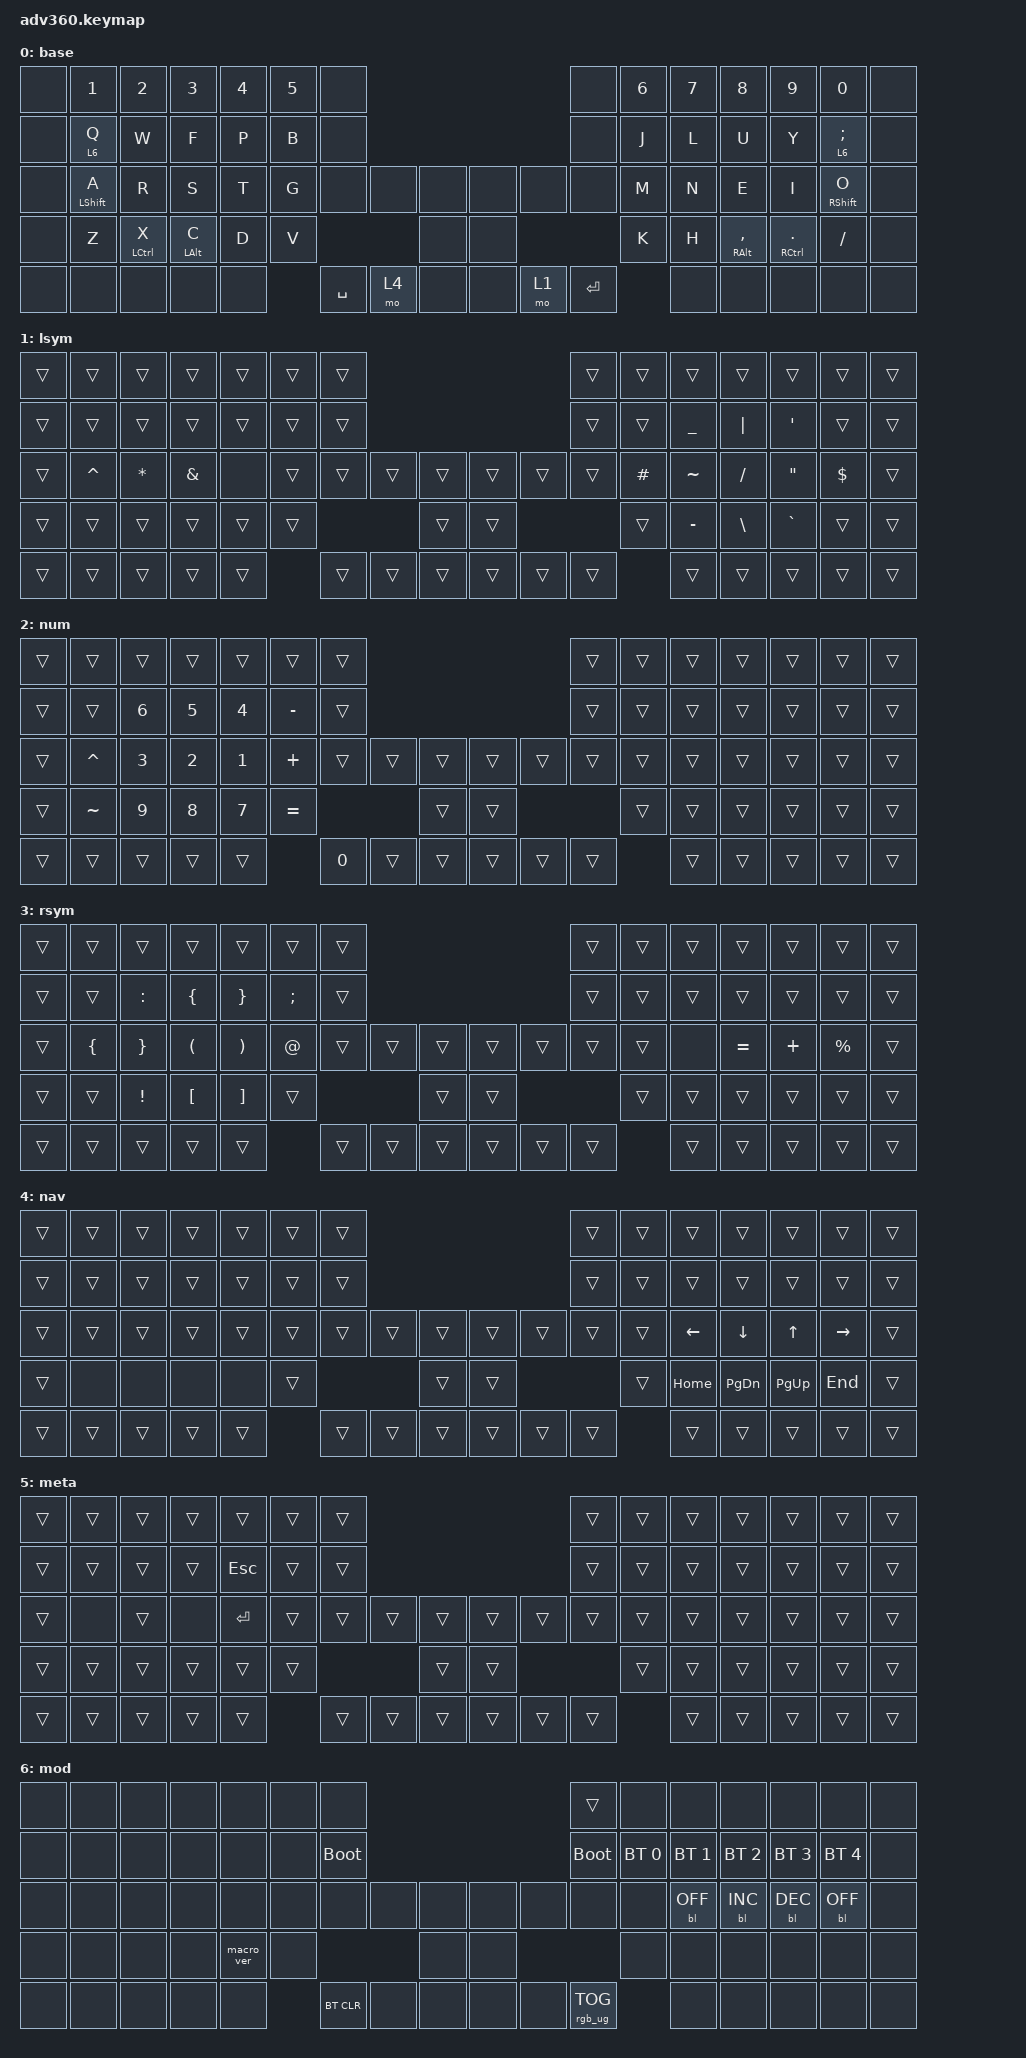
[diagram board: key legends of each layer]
#include <behaviors.dtsi>
#include <dt-bindings/zmk/backlight.h>
#include <dt-bindings/zmk/bt.h>
#include <dt-bindings/zmk/keys.h>
#include <dt-bindings/zmk/rgb.h>

/ {
    behaviors {
        #include "macros.dtsi"
      #include "version.dtsi"
      #ifndef VERSION_MACRO

        macro_ver: macro_ver {
            compatible = "zmk,behavior-macro";
            label = "macro_version";
            #binding-cells = <0>;
            bindings = <&kp RET>;
        };

        #endif

        hm: homerow_mods {
            compatible = "zmk,behavior-hold-tap";
            label = "HOMEROW_MODS";
            #binding-cells = <2>;
            tapping-term-ms = <300>;
            flavor = "tap-preferred";
            bindings = <&kp>, <&kp>;
        };

        ls_cw: ls_cw {
            compatible = "zmk,behavior-tap-dance";
            label = "LS_CW";
            #binding-cells = <0>;
            bindings = <&kp LEFT_SHIFT>, <&caps_word>;
        };
    };

    macros {
    };

    combos {
        compatible = "zmk,combos";

        CB_BACKSPACE {
            bindings = <&kp BACKSPACE>;
            key-positions = <65 70>;
        };

        CB_LGUI {
            bindings = <&kp LEFT_GUI>;
            key-positions = <70 69>;
        };

        CB_ESCAPE {
            bindings = <&kp ESCAPE>;
            key-positions = <65 66>;
        };
    };

    keymap {
        compatible = "zmk,keymap";

        base {
            bindings = <
&none  &kp N1            &kp N2              &kp N3          &kp N4  &kp N5  &none                                      &none      &kp N6  &kp N7  &kp N8               &kp N9                    &kp N0             &none
&none  &lt 6 Q           &kp W               &kp F           &kp P   &kp B   &none                                      &none      &kp J   &kp L   &kp U                &kp Y                     &lt 6 SEMICOLON    &none
&none  &hm LEFT_SHIFT A  &kp R               &kp S           &kp T   &kp G   &none      &none  &none      &none  &none  &none      &kp M   &kp N   &kp E                &kp I                     &hm RIGHT_SHIFT O  &none
&none  &kp Z             &mt LEFT_CONTROL X  &mt LEFT_ALT C  &kp D   &kp V                     &none      &none                    &kp K   &kp H   &mt RIGHT_ALT COMMA  &mt RIGHT_CONTROL PERIOD  &kp SLASH          &none
&none  &none             &none               &none           &none           &kp SPACE  &mo 4  &none      &none  &mo 1  &kp ENTER          &none   &none                &none                     &none              &none
            >;
        };

        lsym {
            bindings = <
&trans  &trans     &trans        &trans         &trans  &trans  &trans                                      &trans  &trans     &trans          &trans         &trans             &trans      &trans
&trans  &trans     &trans        &trans         &trans  &trans  &trans                                      &trans  &trans     &kp UNDERSCORE  &kp PIPE       &kp SINGLE_QUOTE   &trans      &trans
&trans  &kp CARET  &kp ASTERISK  &kp AMPERSAND  &none   &trans  &trans  &trans  &trans      &trans  &trans  &trans  &kp POUND  &kp TILDE       &kp SLASH      &kp DOUBLE_QUOTES  &kp DOLLAR  &trans
&trans  &trans     &trans        &trans         &trans  &trans                  &trans      &trans                  &trans     &kp MINUS       &kp BACKSLASH  &kp GRAVE          &trans      &trans
&trans  &trans     &trans        &trans         &trans          &trans  &trans  &trans      &trans  &trans  &trans             &trans          &trans         &trans             &trans      &trans
            >;
        };

        num {
            bindings = <
&trans  &trans     &trans  &trans  &trans  &trans     &trans                                      &trans  &trans  &trans  &trans  &trans  &trans  &trans
&trans  &trans     &kp N6  &kp N5  &kp N4  &kp MINUS  &trans                                      &trans  &trans  &trans  &trans  &trans  &trans  &trans
&trans  &kp CARET  &kp N3  &kp N2  &kp N1  &kp PLUS   &trans  &trans  &trans      &trans  &trans  &trans  &trans  &trans  &trans  &trans  &trans  &trans
&trans  &kp TILDE  &kp N9  &kp N8  &kp N7  &kp EQUAL                  &trans      &trans                  &trans  &trans  &trans  &trans  &trans  &trans
&trans  &trans     &trans  &trans  &trans             &kp N0  &trans  &trans      &trans  &trans  &trans          &trans  &trans  &trans  &trans  &trans
            >;
        };

        rsym {
            bindings = <
&trans  &trans          &trans           &trans                &trans                 &trans         &trans                                      &trans  &trans  &trans  &trans     &trans    &trans       &trans
&trans  &trans          &kp COLON        &kp LEFT_BRACE        &kp RIGHT_BRACE        &kp SEMICOLON  &trans                                      &trans  &trans  &trans  &trans     &trans    &trans       &trans
&trans  &kp LEFT_BRACE  &kp RIGHT_BRACE  &kp LEFT_PARENTHESIS  &kp RIGHT_PARENTHESIS  &kp AT_SIGN    &trans  &trans  &trans      &trans  &trans  &trans  &trans  &none   &kp EQUAL  &kp PLUS  &kp PERCENT  &trans
&trans  &trans          &kp EXCLAMATION  &kp LEFT_BRACKET      &kp RIGHT_BRACKET      &trans                         &trans      &trans                  &trans  &trans  &trans     &trans    &trans       &trans
&trans  &trans          &trans           &trans                &trans                                &trans  &trans  &trans      &trans  &trans  &trans          &trans  &trans     &trans    &trans       &trans
            >;
        };

        nav {
            bindings = <
&trans  &trans  &trans  &trans  &trans  &trans  &trans                                      &trans  &trans  &trans          &trans          &trans        &trans           &trans
&trans  &trans  &trans  &trans  &trans  &trans  &trans                                      &trans  &trans  &trans          &trans          &trans        &trans           &trans
&trans  &trans  &trans  &trans  &trans  &trans  &trans  &trans  &trans      &trans  &trans  &trans  &trans  &kp LEFT_ARROW  &kp DOWN_ARROW  &kp UP_ARROW  &kp RIGHT_ARROW  &trans
&trans  &none   &none   &none   &none   &trans                  &trans      &trans                  &trans  &kp HOME        &kp PAGE_DOWN   &kp PG_UP     &kp END          &trans
&trans  &trans  &trans  &trans  &trans          &trans  &trans  &trans      &trans  &trans  &trans          &trans          &trans          &trans        &trans           &trans
            >;
        };

        meta {
            bindings = <
&trans  &trans  &trans  &trans  &trans      &trans  &trans                                      &trans  &trans  &trans  &trans  &trans  &trans  &trans
&trans  &trans  &trans  &trans  &kp ESCAPE  &trans  &trans                                      &trans  &trans  &trans  &trans  &trans  &trans  &trans
&trans  &none   &trans  &none   &kp ENTER   &trans  &trans  &trans  &trans      &trans  &trans  &trans  &trans  &trans  &trans  &trans  &trans  &trans
&trans  &trans  &trans  &trans  &trans      &trans                  &trans      &trans                  &trans  &trans  &trans  &trans  &trans  &trans
&trans  &trans  &trans  &trans  &trans              &trans  &trans  &trans      &trans  &trans  &trans          &trans  &trans  &trans  &trans  &trans
            >;
        };

        mod {
            bindings = <
&none  &none  &none  &none  &none       &none  &none                                        &trans           &none         &none         &none         &none         &none         &none
&none  &none  &none  &none  &none       &none  &bootloader                                  &bootloader      &bt BT_SEL 0  &bt BT_SEL 1  &bt BT_SEL 2  &bt BT_SEL 3  &bt BT_SEL 4  &none
&none  &none  &none  &none  &none       &none  &none        &none  &none      &none  &none  &none            &none         &bl BL_OFF    &bl BL_INC    &bl BL_DEC    &bl BL_OFF    &none
&none  &none  &none  &none  &macro_ver  &none                      &none      &none                          &none         &none         &none         &none         &none         &none
&none  &none  &none  &none  &none              &bt BT_CLR   &none  &none      &none  &none  &rgb_ug RGB_TOG                &none         &none         &none         &none         &none
            >;
        };
    };
};
